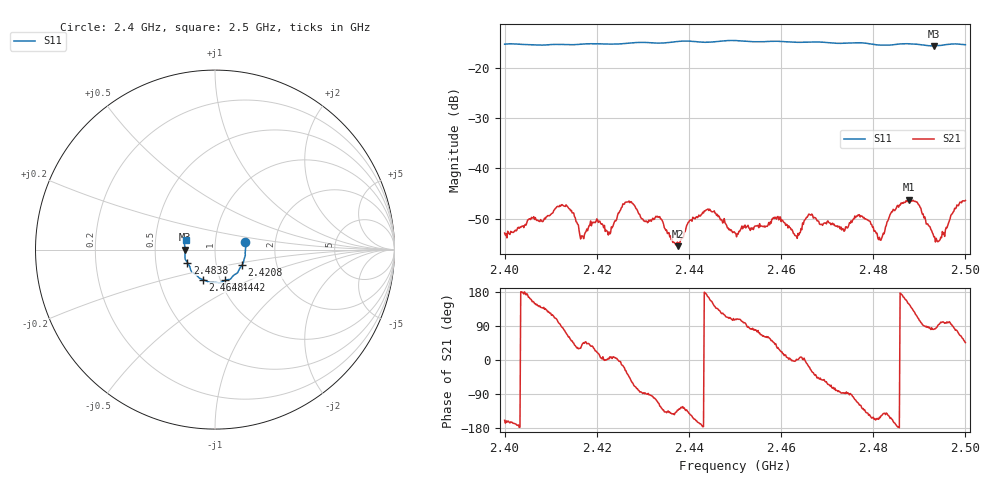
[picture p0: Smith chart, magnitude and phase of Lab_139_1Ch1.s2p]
# Hz S RI R 50
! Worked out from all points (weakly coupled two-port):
!   601 points, 2.4 GHz to 2.5 GHz, reference 50 ohm
!   highest |S21| = -46.22 dB at 2.4877 GHz (marker M1); lowest = -55.5 dB at 2.4377 GHz (marker M2)
!   lowest |S11| = -15.6 dB at 2.4932 GHz (marker M3), VSWR 1.40, Z = 35.8 - j0.0923 ohm
!   |S11| at or under -10 dB: start of sweep to end of sweep
!   S12 and S22 are empty: the file has one direction only
!   S11 on the Smith chart (normalised r, x): 2.4 GHz: 1.40, +0.12; 2.4208 GHz: 1.33, -0.24; 2.4442 GHz: 1.05, -0.37; 2.4648 GHz: 0.83, -0.29; 2.4838 GHz: 0.73, -0.11; 2.5 GHz: 0.72, +0.08
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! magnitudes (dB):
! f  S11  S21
! 2.4 GHz  -15.3  -52.9
! 2.4128 GHz  -15.3  -47.5
! 2.4167 GHz  -15.2  -53.5
! 2.4208 GHz  -15.2  -50.9
! 2.4228 GHz  -15.2  -53.1
! 2.4268 GHz  -15.1  -46.7
! 2.4333 GHz  -15.0  -49.7
! 2.4377 GHz  -14.7  -55.5
! 2.4442 GHz  -14.9  -48.1
! 2.45 GHz  -14.5  -52.9
! 2.4588 GHz  -14.7  -49.9
! 2.4633 GHz  -14.9  -53.5
! 2.4648 GHz  -14.9  -51.2
! 2.4667 GHz  -14.8  -49.1
! 2.4733 GHz  -15.1  -52.0
! 2.4772 GHz  -15.0  -49.7
! 2.4815 GHz  -15.4  -54.3
! 2.4833 GHz  -15.5  -50.1
! 2.4838 GHz  -15.4  -48.9
! 2.4877 GHz  -15.2  -46.2
! 2.4932 GHz  -15.6  -53.7
! 2.5 GHz  -15.4  -46.4
